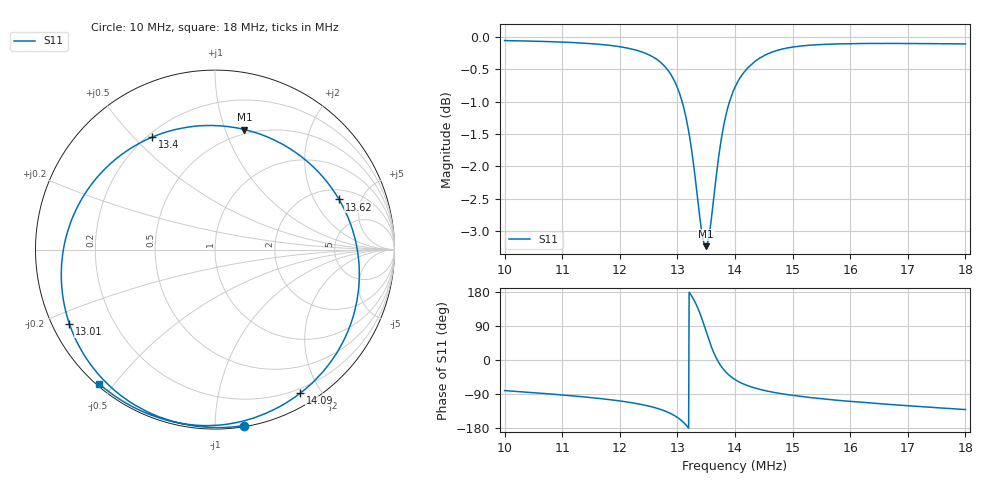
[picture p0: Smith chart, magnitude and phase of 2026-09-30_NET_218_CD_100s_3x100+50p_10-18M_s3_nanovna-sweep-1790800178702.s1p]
! NanoVNA Web complex sweep
! Processing: unaveraged complex samples; linear segment spacing; no smoothing
# Hz S RI R 50
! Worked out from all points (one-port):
!   1010 points, 10 MHz to 18 MHz, reference 50 ohm
!   lowest |S11| = -3.2 dB at 13.5 MHz (marker M1), VSWR 5.43, Z = 22.9 + j58.4 ohm
!   |S11| at or under -10 dB: nowhere
!   S11 on the Smith chart (normalised r, x): 10 MHz: 0.01, -1.18; 13.01 MHz: 0.05, -0.24; 13.4 MHz: 0.22, +0.57; 13.62 MHz: 2.56, +3.22; 14.09 MHz: 0.15, -1.75; 18 MHz: 0.01, -0.46
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1e7  0.1597 -0.9808
1.100698e7  -0.0402 -0.9901
1.200604e7  -0.3063 -0.9336
1.237077e7  -0.4464 -0.8657
1.264036e7  -0.5807 -0.7657
1.284651e7  -0.7064 -0.6218
1.300509e7  -0.8066 -0.4269
1.301302e7  -0.811 -0.4142
1.314781e7  -0.8565 -0.135
1.324296e7  -0.8071 0.1431
1.332225e7  -0.6528 0.4074
1.340154e7  -0.3484 0.6274
1.344912e7  -0.1006 0.6888
1.349669e7  0.1643 0.669
1.356012e7  0.4792 0.5193
1.362355e7  0.6911 0.2797
1.36632e7  0.7639 0.1176
1.370284e7  0.7983 -0.0384
1.380592e7  0.7705 -0.3706
1.390107e7  0.6779 -0.577
1.400414e7  0.5643 -0.7212
1.409136e7  0.4744 -0.8006
1.423409e7  0.3477 -0.8815
1.443231e7  0.2079 -0.9408
1.50032e7  -0.0587 -0.9805
1.600225e7  -0.3247 -0.9327
1.700131e7  -0.5051 -0.8496
1.800036e7  -0.6456 -0.7475
